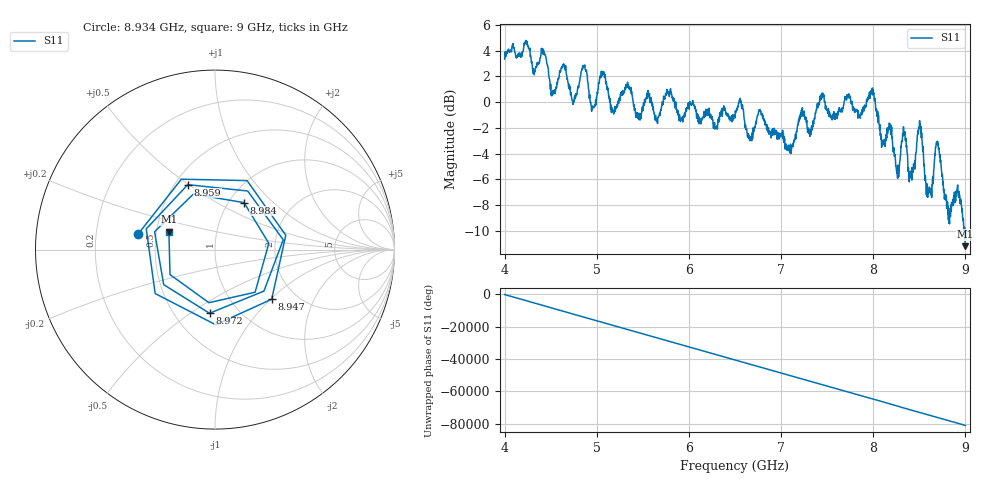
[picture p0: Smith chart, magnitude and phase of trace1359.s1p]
! Created with skrf 1.8.0 (http://scikit-rf.org).
# Hz S RI R 50.0
!freq ReS11 ImS11
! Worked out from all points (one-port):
!   1601 points, 4 GHz to 9 GHz, reference 50 ohm
!   lowest |S11| = -11.2 dB at 9 GHz (marker M1), VSWR 1.76, Z = 29.1 + j6.26 ohm
!   |S11| at or under -10 dB: 8.982911 GHz to 8.9898 GHz (6.889 MHz wide, 0.0767 % of centre); 8.99201 GHz to end of sweep
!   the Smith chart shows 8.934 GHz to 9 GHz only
!   S11 on the Smith chart (normalised r, x): 8.934 GHz: 0.40, +0.09; 8.947 GHz: 1.51, -1.02; 8.959 GHz: 0.58, +0.50; 8.972 GHz: 0.74, -0.60; 8.984 GHz: 1.17, +0.68; 9 GHz: 0.58, +0.13
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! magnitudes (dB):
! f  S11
! 4 GHz  3.3
! 4.422 GHz  4.0
! 4.528 GHz  0.9
! 4.625 GHz  2.8
! 4.747 GHz  0.1
! 4.862 GHz  2.8
! 4.953 GHz  -0.5
! 5.056 GHz  2.3
! 5.25 GHz  0.4
! 5.875 GHz  -0.6
! 6.5 GHz  -1.2
! 7.125 GHz  -3.4
! 7.441 GHz  0.7
! 7.75 GHz  0.3
! 7.994 GHz  0.6
! 8.106 GHz  -3.3
! 8.375 GHz  -4.7
! 8.428 GHz  -5.4
! 8.503 GHz  -1.4
! 8.6 GHz  -7.0
! 8.694 GHz  -3.1
! 8.822 GHz  -9.4
! 8.934 GHz  -7.2
! 8.947 GHz  -7.5
! 8.959 GHz  -8.1
! 8.972 GHz  -9.0
! 8.984 GHz  -10.2
! 9 GHz  -11.2
